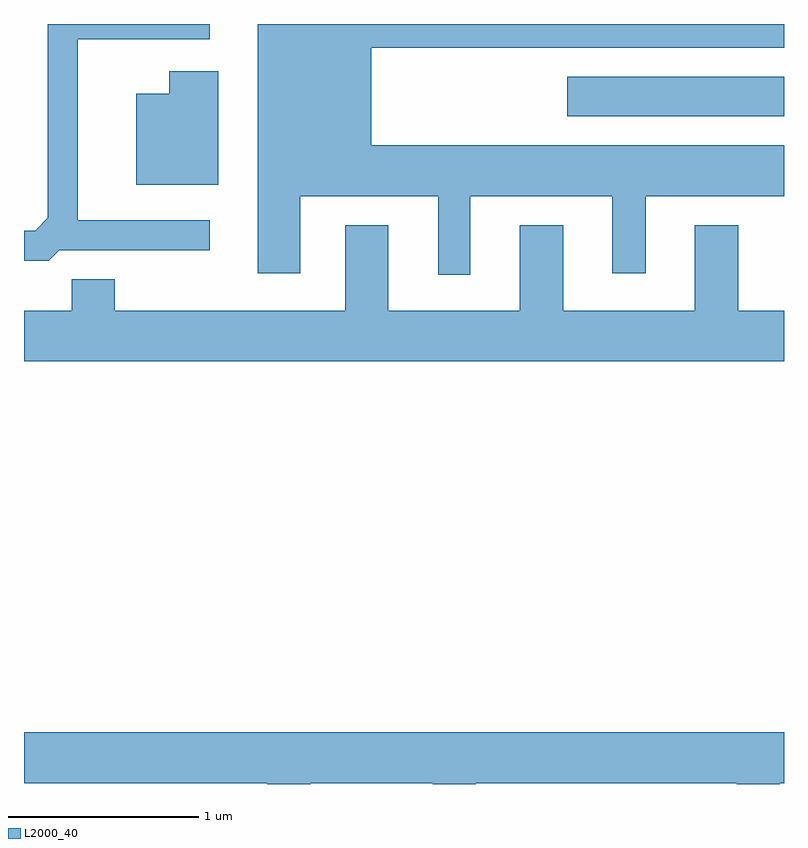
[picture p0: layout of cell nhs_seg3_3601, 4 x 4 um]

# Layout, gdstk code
import gdstk
lib = gdstk.Library(unit=1e-6, precision=1e-09)
def R(c, l, rs):  # rectangles x0, y0, x1, y1
    for r in rs: c.add(gdstk.rectangle(r[:2], r[2:], *l))
def P(c, l, *ps):  # polygons
    for p in ps: c.add(gdstk.Polygon(p, *l))
L2000_40 = (2000, 40)

nhs_seg3_3601 = lib.new_cell('nhs_seg3_3601')
R(nhs_seg3_3601, L2000_40, [(292.471,1249.406,293.611,1249.614)])
P(nhs_seg3_3601, L2000_40, [(291.959,1248.986),(292.706,1248.986),(292.706,1248.581),(292.884,1248.581),(292.884,1248.986),(293.611,1248.986),(293.611,1249.254),(291.439,1249.254),(291.439,1249.766),(293.611,1249.766),(293.611,1249.892),(290.841,1249.892),(290.841,1248.581),(291.064,1248.581),(291.064,1248.986),(291.791,1248.986),(291.791,1248.573),(291.959,1248.573)],
  [(289.797,1248.701),(290.588,1248.701),(290.588,1248.859),(289.894,1248.859),(289.894,1249.811),(290.588,1249.811),(290.588,1249.892),(289.736,1249.892),(289.736,1248.872),(289.669,1248.804),(289.611,1248.804),(289.611,1248.646),(289.742,1248.646)],
  [(290.634,1249.644),(290.376,1249.644),(290.376,1249.524),(290.201,1249.524),(290.201,1249.046),(290.634,1249.046)],
  [(293.611,1248.384),(293.369,1248.384),(293.369,1248.834),(293.141,1248.834),(293.141,1248.384),(292.449,1248.384),(292.449,1248.834),(292.221,1248.834),(292.221,1248.384),(291.529,1248.384),(291.529,1248.834),(291.301,1248.834),(291.301,1248.384),(290.089,1248.384),(290.089,1248.549),(289.861,1248.549),(289.861,1248.384),(289.611,1248.384),(289.611,1248.116),(293.611,1248.116)],
  [(291.119,1245.896),(291.761,1245.896),(291.761,1245.892),(291.989,1245.892),(291.989,1245.896),(293.361,1245.896),(293.361,1245.892),(293.589,1245.892),(293.589,1245.896),(293.611,1245.896),(293.611,1246.164),(289.611,1246.164),(289.611,1245.896),(290.891,1245.896),(290.891,1245.892),(291.119,1245.892)])

lib.write_gds('nhs_seg3_3601.gds')
